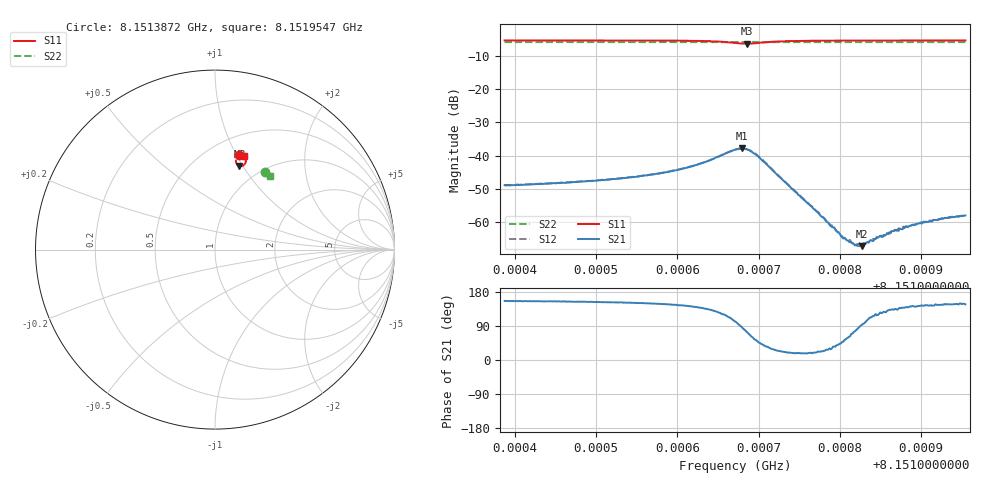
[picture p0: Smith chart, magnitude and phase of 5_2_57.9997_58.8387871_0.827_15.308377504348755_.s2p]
#  HZ  S  RI  R  50.00
! Rohde & Schwarz Vector Network Analyzer
! Rohde-Schwarz,ZNB20-2Port,1311601062101988,3.16
! Created: UTC 3/21/2024, 12:50:26 AM
! freq[Hz]  re:S11  im:S11  re:S21  im:S21  re:S12  im:S12  re:S22  im:S22
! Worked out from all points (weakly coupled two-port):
!   401 points, 8.1513872 GHz to 8.1519547 GHz, reference 50 ohm
!   highest |S21| = -37.85 dB at 8.1516795 GHz (marker M1); lowest = -67.2 dB at 8.1518271 GHz (marker M2)
!   lowest |S11| = -6.3 dB at 8.1516852 GHz (marker M3), VSWR 2.89, Z = 39.6 + j48.4 ohm
!   |S11| at or under -10 dB: nowhere
!   |S22| runs from -5.8 to -5.8 dB; largest |S21 - S12| = 0.00041
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8.15138721e9  0.1359 0.5268  -0.00327 0.00146  -0.00325 0.00154  0.2769 0.4334
8.15148227e9  0.1448 0.5242  -0.00364 0.00181  -0.00364 0.00189  0.2819 0.4298
8.15152768e9  0.1497 0.5224  -0.00396 0.00212  -0.00396 0.0022  0.2844 0.4281
8.15157733e9  0.1567 0.5188  -0.00456 0.00283  -0.00456 0.00291  0.2871 0.4263
8.15162132e9  0.1656 0.5111  -0.00545 0.00454  -0.0054 0.00463  0.2897 0.4241
8.15167098e9  0.1625 0.4725  -0.00249 0.0119  -0.00243 0.0121  0.2914 0.421
8.15167949e9  0.1479 0.4658  0.000745 0.0128  0.000875 0.0127  0.2911 0.4206
8.15168517e9  0.1359 0.4666  0.00329 0.0119  0.0034 0.0121  0.2909 0.4206
8.15169226e9  0.1236 0.4742  0.00559 0.00982  0.00572 0.0099  0.2909 0.4209
8.15170219e9  0.1166 0.4898  0.00644 0.00633  0.00666 0.00638  0.2914 0.4213
8.15176604e9  0.1384 0.5205  0.00159 0.000506  0.00162 0.000536  0.296 0.4197
8.15180577e9  0.1466 0.5214  0.000348 0.000461  0.000381 0.000423  0.2983 0.4182
8.1518157e9  0.1482 0.5214  0.000165 0.000442  0.000173 0.000451  0.2989 0.4177
8.15182138e9  0.1491 0.5214  7.19e-05 0.000454  8.1e-05 0.000426  0.2992 0.4177
8.15182705e9  0.1499 0.5214  -1.71e-05 0.000435  -2.94e-06 0.000482  0.2995 0.4172
8.15183273e9  0.1508 0.5214  -0.000107 0.00047  -8.22e-05 0.000478  0.2998 0.4171
8.1518611e9  0.1543 0.521  -0.000462 0.000501  -0.000427 0.000531  0.3014 0.416
8.15186962e9  0.1552 0.5209  -0.000511 0.000532  -0.000521 0.00054  0.3017 0.4156
8.15188239e9  0.1566 0.5205  -0.000653 0.000546  -0.000647 0.000562  0.3025 0.4151
8.15190083e9  0.1585 0.5203  -0.000759 0.000553  -0.00078 0.000599  0.3034 0.4145
8.15193205e9  0.1615 0.5196  -0.000973 0.00061  -0.00096 0.000625  0.3051 0.4132
8.15195475e9  0.1635 0.5192  -0.00105 0.000681  -0.00105 0.000661  0.3062 0.4123
